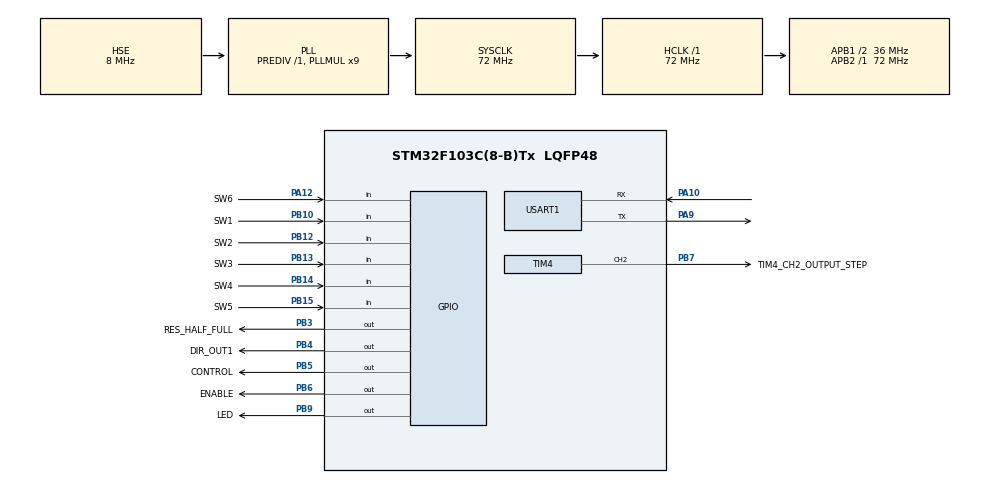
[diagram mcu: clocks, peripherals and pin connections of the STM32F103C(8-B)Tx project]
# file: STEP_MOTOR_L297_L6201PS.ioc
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Mcu.Family=STM32F1
Mcu.Name=STM32F103C(8-B)Tx
Mcu.Package=LQFP48
NVIC.PriorityGroup=NVIC_PRIORITYGROUP_4
NVIC.TIM4_IRQn=true\:0\:0\:false\:false\:true\:true\:true
NVIC.USART1_IRQn=true\:0\:0\:false\:false\:true\:true\:true
PA10.Mode=Asynchronous
PA10.Signal=USART1_RX
PA12.GPIO_Label=SW6
PA12.GPIO_PuPd=GPIO_PULLUP
PA12.Signal=GPIO_Input
PA13.Mode=Serial_Wire
PA13.Signal=SYS_JTMS-SWDIO
PA14.Mode=Serial_Wire
PA14.Signal=SYS_JTCK-SWCLK
PA9.Mode=Asynchronous
PA9.Signal=USART1_TX
PB10.GPIO_Label=SW1
PB10.GPIO_PuPd=GPIO_PULLUP
PB10.Signal=GPIO_Input
PB12.GPIO_Label=SW2
PB12.GPIO_PuPd=GPIO_PULLUP
PB12.Signal=GPIO_Input
PB13.GPIO_Label=SW3
PB13.GPIO_PuPd=GPIO_PULLUP
PB13.Signal=GPIO_Input
PB14.GPIO_Label=SW4
PB14.GPIO_PuPd=GPIO_PULLUP
PB14.Signal=GPIO_Input
PB15.GPIO_Label=SW5
PB15.GPIO_PuPd=GPIO_PULLUP
PB15.Signal=GPIO_Input
PB3.GPIO_Label=RES_HALF_FULL
PB3.Signal=GPIO_Output
PB4.GPIO_Label=DIR_OUT1
PB4.Signal=GPIO_Output
PB5.GPIO_Label=CONTROL
PB5.PinState=GPIO_PIN_SET
PB5.Signal=GPIO_Output
PB6.GPIO_Label=ENABLE
PB6.Signal=GPIO_Output
PB7.GPIO_Label=TIM4_CH2_OUTPUT_STEP
PB7.Signal=S_TIM4_CH2
PB9.GPIO_Label=LED
PB9.Signal=GPIO_Output
PD0-OSC_IN.Mode=HSE-External-Oscillator
PD0-OSC_IN.Signal=RCC_OSC_IN
PD1-OSC_OUT.Mode=HSE-External-Oscillator
PD1-OSC_OUT.Signal=RCC_OSC_OUT
ProjectManager.HeapSize=0x200
ProjectManager.StackSize=0x400
ProjectManager.TargetToolchain=STM32CubeIDE
RCC.AHBFreq_Value=72000000
RCC.APB1CLKDivider=RCC_HCLK_DIV2
RCC.APB1Freq_Value=36000000
RCC.APB1TimFreq_Value=72000000
RCC.APB2Freq_Value=72000000
RCC.APB2TimFreq_Value=72000000
RCC.EnbaleCSS=true
RCC.HCLKFreq_Value=72000000
RCC.PLLMUL=RCC_PLL_MUL9
RCC.PLLSourceVirtual=RCC_PLLSOURCE_HSE
RCC.SYSCLKFreq_VALUE=72000000
RCC.SYSCLKSource=RCC_SYSCLKSOURCE_PLLCLK
RCC.USBFreq_Value=72000000
SH.S_TIM4_CH2.0=TIM4_CH2,PWM Generation2 CH2
TIM4.Channel-PWM\ Generation2\ CH2=TIM_CHANNEL_2
TIM4.Period=10
TIM4.Prescaler=72
USART1.VirtualMode=VM_ASYNC
VP_TIM4_VS_ClockSourceINT.Mode=Internal
board=custom

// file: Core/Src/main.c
/* USER CODE BEGIN Header */
/**
  ******************************************************************************
  * @file           : main.c
  * @brief          : Main program body
  ******************************************************************************
  * @attention
  *
  * <h2><center>&copy; Copyright (c) 2020 STMicroelectronics.
  * All rights reserved.</center></h2>
  *
  * This software component is licensed by ST under BSD 3-Clause license,
  * the "License"; You may not use this file except in compliance with the
  * License. You may obtain a copy of the License at:
  *                        opensource.org/licenses/BSD-3-Clause
  *
  ******************************************************************************
  */
/* USER CODE END Header */
#include "main.h"
#include "tim.h"
#include "usart.h"
#include "gpio.h"

/* USER CODE BEGIN Includes */
#include "dwt_stm32_delay.h"
#include "stdbool.h"
#include "stdio.h"

long int global_poz_x_axis=0;
long int global_poz_y_axis=0;

bool pwm_mode=true;

uint16_t speed=200;

long step_x_axis=0;
bool direction_x_axis=false;

long step_y_axis=0;
bool direction_y_axis=false;

#define CCW  1
#define CW  -1
#define active 1
#define deactive 0

#ifdef __GNUC__
	#define PUTCHAR_PROTOTYPE int __io_putchar(int ch)
	#else
	#define PUTCHAR_PROTOTYPE int fputc(int ch,FILE *f)
	#endif

	PUTCHAR_PROTOTYPE
	{
	    HAL_UART_Transmit(&huart1,(uint8_t*)&ch,1,100);

		return ch;

	}

	char board_id1='1';
	char board_id2='0';
	char board_id3='0';
	char board_id4='0';

void read_sw_switch()
{

		if(!READ_SW1)
		{
		  board_id1='1';
		}
		else
		{
		  board_id1='0';
		}

		if(!READ_SW2)
		{
		  board_id2='1';
		}
		else
		{
		  board_id2='0';
		}

		if(!READ_SW3)
		{
		  board_id3='1';
		}
		else
		{
		  board_id3='0';
		}

		if(!READ_SW4)
		{
		  board_id4='1';
		}
		else
		{
		  board_id4='0';
		}

	   if(!READ_SW6)
	  {

			   if(!pwm_mode)
			   {
					send_set_step_dir_DLY_x_axis(1000  , CCW  , speed);
					HAL_Delay(2000);
					send_set_step_dir_DLY_x_axis(1000  , CW  , speed);
					HAL_Delay(2000);
			   }
			   else
			   {
			       send_set_step_dir_PWM_X_axis(1000  , CCW , speed);
				   HAL_Delay(2000);
				   send_set_step_dir_PWM_X_axis(1000  ,  CW , speed);
				   HAL_Delay(2000);
			   }

			   speed+=50;

	  }

 }

/* USER CODE END Includes */

void SystemClock_Config(void);
/* USER CODE BEGIN PFP */

void send_set_step_dir_PWM_X_axis(uint32_t step , int dir , uint16_t speed);
void send_set_step_dir_PWM_Y_axis(uint32_t step , int dir , uint16_t speed);

/* USER CODE END PFP */

/* USER CODE BEGIN 0 */

//-------- usart 1 var ------

uint8_t Rx_data[2],Rx_indx,Rx_Buffer[100],Transfer_flag;
int i=0;
char buffer[100];
int len;

void HAL_UART_RxCpltCallback(UART_HandleTypeDef *huart)
{
	  uint8_t i;

		if(huart->Instance==USART1)
		{

			//putchar((uint8_t)Rx_data[0]);

				if(Rx_indx==0){ for(i=0 ; i<100 ; i++ )Rx_Buffer[i]=0;}

				if(Rx_data[0]!='*') //cr lf '\r' | '\n'
				{
				  Rx_Buffer[Rx_indx++]=Rx_data[0];
				}
				else
				{
				   Rx_indx=0;
				   Transfer_flag=1;

				   if( Rx_Buffer[0] == 'A' && Rx_Buffer[1] == board_id1 && Rx_Buffer[2] == board_id2 && Rx_Buffer[3] == board_id3 && Rx_Buffer[4] == board_id4 )
				   {

						   char mstep[10] ="00000000";
						   char mspeed[6]="0000";

						   mspeed[0]=Rx_Buffer[17];
						   mspeed[1]=Rx_Buffer[18];
						   mspeed[2]=Rx_Buffer[19];
						   mspeed[3]=Rx_Buffer[20];

						   mstep[0]=Rx_Buffer[8];
						   mstep[1]=Rx_Buffer[9];
						   mstep[2]=Rx_Buffer[10];
						   mstep[3]=Rx_Buffer[11];
						   mstep[4]=Rx_Buffer[12];
						   mstep[5]=Rx_Buffer[13];
						   mstep[6]=Rx_Buffer[14];
						   mstep[7]=Rx_Buffer[15];

						   uint8_t mdir = (Rx_Buffer[6])-48;

						   printf("step=%d, speed=%d, dir:%d\n", atoi(mstep),atoi(mspeed) , mdir );

						   send_set_step_dir_PWM_X_axis(   atoi(mstep) ,  mdir  ,   atoi(mspeed)  );

				    }
				    else if( Rx_Buffer[1] == 'S' && Rx_Buffer[2] == 'T' && Rx_Buffer[3] == 'P' )//STOP
				    {
				    	  printf("STOP MOTOR\n" );
				    	  ENABLE_M(deactive);//0 ENABLE, 1 DISABLE
				    	  HAL_TIM_PWM_Stop(&htim4, TIM_CHANNEL_2);//stop pulse ch X axis

				    }
				    else if( Rx_Buffer[1] == 'R' && Rx_Buffer[2] == 'E' && Rx_Buffer[3] == 'S' )//STOP
					{
						  printf("HALF / FULL\n" );
						  SET_HALF_FULL_PIN(  (Rx_Buffer[4]-48)   );

					}
				    else if( Rx_Buffer[1] == 'C' && Rx_Buffer[2] == 'T' && Rx_Buffer[3] == 'R'  && Rx_Buffer[4] == 'L')//SLEEP
					{
				    	CONTROL_PIN(  (Rx_Buffer[5]-48)  );
					}
				    else if( Rx_Buffer[1] == 'P' && Rx_Buffer[2] == 'O' && Rx_Buffer[3] == 'S' )
					{

				    		printf("position motor 1=<%d>\n",global_poz_x_axis);

					}
				    else if( Rx_Buffer[1] == 'Z' && Rx_Buffer[2] == 'R' && Rx_Buffer[3] == 'O' )//SLEEP
					{

							 global_poz_x_axis=0;

					}

				}
				HAL_UART_Receive_IT(&huart1,(uint8_t *)Rx_data,1);

		}

}

//############################ delay mode ##################################################################################

void send_set_step_dir_DLY_x_axis(uint32_t step , int dir,uint16_t speed)
{

	if(dir==1)
	{
		//HAL_GPIO_WritePin(GPIOB, GPIO_PIN_13, GPIO_PIN_SET);
		SET_DIR(1);
	}
	else
	{
		SET_DIR(0);
		//HAL_GPIO_WritePin(GPIOB, GPIO_PIN_13, GPIO_PIN_RESET);
	}

	for(uint32_t i=0 ; i < step ; i++)
	{
		HAL_GPIO_TogglePin( TIM4_CH2_OUTPUT_STEP_GPIO_Port , TIM4_CH2_OUTPUT_STEP_Pin);
		//HAL_GPIO_WritePin(GPIOB, GPIO_PIN_12, GPIO_PIN_SET);
		DWT_Delay_us( speed+50 );//200
	}

}

//########################## pwm mode ####################################################################################
void HAL_TIM_PWM_PulseFinishedCallback(TIM_HandleTypeDef *htim)
{

    if(htim->Instance==TIM4)//interrupt with every pulse for y ch--------------------------------------------------------------------
	{

    	 LED_TGL;

				    if(direction_x_axis )
					{
				    	step_x_axis--;
				    	global_poz_x_axis--;
				    	if( step_x_axis<=0)//50000 --->>>  step_x_axis = s_value_x_p
						{
						   HAL_TIM_PWM_Stop(&htim4, TIM_CHANNEL_2);//stop pulse ch y axis
						}

					}
				    else
					{

				    	step_x_axis++;
				    	global_poz_x_axis++;
				    	if( step_x_axis>=0)//50000 --->>>  step_x_axis = s_value_x_p
						{
						   HAL_TIM_PWM_Stop(&htim4, TIM_CHANNEL_2);//stop pulse ch y axis
						}
					}

	}

}
//----------------------------------------------
//##########################################################################################
//##########################################################################################
//##########################################################################################

void send_set_step_dir_PWM_X_axis(uint32_t step , int dir , uint16_t speed)
{

	ENABLE_M(active);//0 ENABLE, 1 DISABLE

	if(dir==1)
	{
		 direction_x_axis = true;
		 SET_DIR(1);
		 step_x_axis = step;
		//HAL_GPIO_WritePin(GPIOB, GPIO_PIN_13, GPIO_PIN_SET);
	}
	else
	{
		step_x_axis = step *(-1);
		direction_x_axis=false;
		SET_DIR(0);
		//HAL_GPIO_WritePin(GPIOB, GPIO_PIN_13, GPIO_PIN_RESET);
	}

	//step_x_axis = step;

	htim4.Instance = TIM4;
	htim4.Init.Prescaler = speed-1 ; // 3-1
	htim4.Init.CounterMode = TIM_COUNTERMODE_UP;
	htim4.Init.Period = 100;// speed-1
	htim4.Init.ClockDivision = TIM_CLOCKDIVISION_DIV1;
	htim4.Init.AutoReloadPreload = TIM_AUTORELOAD_PRELOAD_DISABLE;
	HAL_TIM_Base_Init(&htim4) ;

	 HAL_TIM_PWM_Start_IT(&htim4, TIM_CHANNEL_2);
	__HAL_TIM_SET_COMPARE(&htim4, TIM_CHANNEL_2,50);// 40

}

//##############################################################################################################

/* USER CODE END 0 */

int main(void)
{

  /* MCU Configuration--------------------------------------------------------*/

  /* Reset of all peripherals, Initializes the Flash interface and the Systick. */
  HAL_Init();

  /* Configure the system clock */
  SystemClock_Config();

  /* Initialize all configured peripherals */
  MX_GPIO_Init();
  MX_TIM4_Init();
  MX_USART1_UART_Init();
  /* USER CODE BEGIN 2 */

  HAL_UART_Receive_IT(&huart1,(uint8_t *)Rx_data,1);

  if(!pwm_mode)
  {
	  GPIO_InitTypeDef GPIO_InitStruct = {0};
	  GPIO_InitStruct.Pin = TIM4_CH2_OUTPUT_STEP_Pin;
	  GPIO_InitStruct.Mode = GPIO_MODE_OUTPUT_PP;
	  GPIO_InitStruct.Pull = GPIO_NOPULL;
	  GPIO_InitStruct.Speed = GPIO_SPEED_FREQ_HIGH;
	  HAL_GPIO_Init(TIM4_CH2_OUTPUT_STEP_GPIO_Port, &GPIO_InitStruct);

  }

  DWT_Delay_Init();

  ENABLE_M(active);//0 ENABLE, 1 DISABLE
  CONTROL_PIN(active);

 printf("============system started============\n");

 	 	if(!READ_SW5)
 		{
 			 SET_HALF_FULL_PIN(1);
 		}
 		else
 		{
 			 SET_HALF_FULL_PIN(0);
 		}

 read_sw_switch();

  /* USER CODE END 2 */

  /* Infinite loop */
  /* USER CODE BEGIN WHILE */

  while (1)
  {

	  read_sw_switch();

	 // printf("============\n");

	  LED_TGL;

	  HAL_Delay(700);

//++++++++++++++++++++++++++++++++++++++++++++++++++++++++++++++++++++++++++++++++++++++++++
  //if(!READ_SW6)
//  { CONTROL_PIN(0);
//
//		   if(!pwm_mode)
//		   {
//				send_set_step_dir_DLY_x_axis(1000  , CCW  , speed);
//
//				HAL_Delay(2000);
//				send_set_step_dir_DLY_x_axis(1000  , CW  , speed);
//
//				HAL_Delay(2000);
//		   }
//		   else
//		   {
//			   send_set_step_dir_PWM_X_axis(1000  , CCW , speed);
//
//			   HAL_Delay(2000);
//			   send_set_step_dir_PWM_X_axis(1000  ,  CW , speed);
//
//			   HAL_Delay(2000);
//		   }
//
//		   speed+=50;
//
//  }

  //+++++++++++++++++++++++++++++++++++++++++++++++++++++++++++++++++++++++++++++++++++++++++++++

    /* USER CODE END WHILE */

  }
}

void SystemClock_Config(void)
{
  RCC_OscInitTypeDef RCC_OscInitStruct = {0};
  RCC_ClkInitTypeDef RCC_ClkInitStruct = {0};

  /** Initializes the RCC Oscillators according to the specified parameters
  * in the RCC_OscInitTypeDef structure.
  */
  RCC_OscInitStruct.OscillatorType = RCC_OSCILLATORTYPE_HSE;
  RCC_OscInitStruct.HSEState = RCC_HSE_ON;
  RCC_OscInitStruct.HSEPredivValue = RCC_HSE_PREDIV_DIV1;
  RCC_OscInitStruct.HSIState = RCC_HSI_ON;
  RCC_OscInitStruct.PLL.PLLState = RCC_PLL_ON;
  RCC_OscInitStruct.PLL.PLLSource = RCC_PLLSOURCE_HSE;
  RCC_OscInitStruct.PLL.PLLMUL = RCC_PLL_MUL9;
  if (HAL_RCC_OscConfig(&RCC_OscInitStruct) != HAL_OK)
  {
    Error_Handler();
  }
  /** Initializes the CPU, AHB and APB buses clocks
  */
  RCC_ClkInitStruct.ClockType = RCC_CLOCKTYPE_HCLK|RCC_CLOCKTYPE_SYSCLK
                              |RCC_CLOCKTYPE_PCLK1|RCC_CLOCKTYPE_PCLK2;
  RCC_ClkInitStruct.SYSCLKSource = RCC_SYSCLKSOURCE_PLLCLK;
  RCC_ClkInitStruct.AHBCLKDivider = RCC_SYSCLK_DIV1;
  RCC_ClkInitStruct.APB1CLKDivider = RCC_HCLK_DIV2;
  RCC_ClkInitStruct.APB2CLKDivider = RCC_HCLK_DIV1;

  if (HAL_RCC_ClockConfig(&RCC_ClkInitStruct, FLASH_LATENCY_2) != HAL_OK)
  {
    Error_Handler();
  }
  /** Enables the Clock Security System
  */
  HAL_RCC_EnableCSS();
}

void Error_Handler(void)
{
}

/************************ (C) COPYRIGHT STMicroelectronics *****END OF FILE****/
